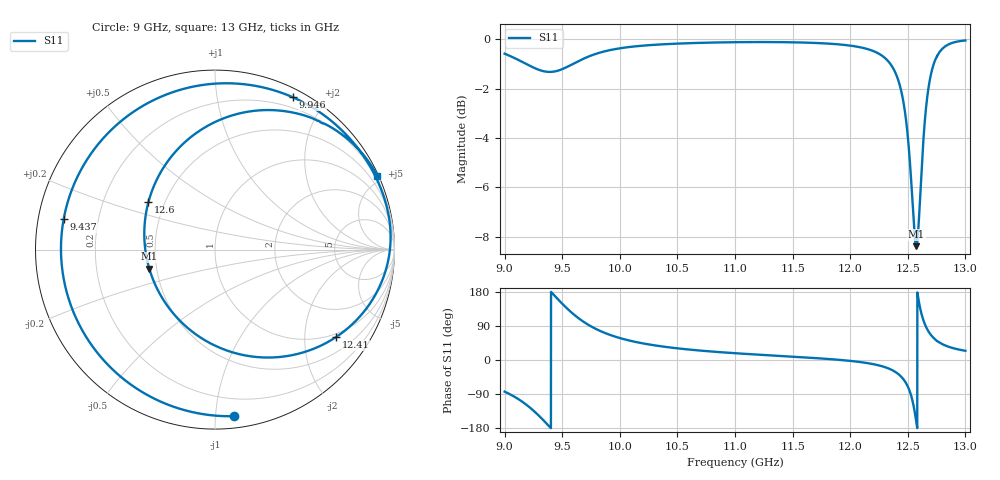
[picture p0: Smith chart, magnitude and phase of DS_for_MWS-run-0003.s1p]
! TOUCHSTONE file generated by CST DESIGN STUDIO
! Date and time: Tue Feb  4 16:12:17 2025
! Project name: C:\Work\MatlabApps\UnitCellOptimizationMatlab\CST\unitcell.cst
! Tree item: Tasks\Sweep1\SPara1\S-Parameters
! Header version: 2024
! Port assignment regex: !\s*Touchstone port\s*([0-9]+)\s*=\s*(CST MWS port|CST DES external port|CST DES block port)\s*(.+)\s* \(\"(.*)\"\)(\s*mode\s*([0-9]+))?.*
! Touchstone port assignment:
! Touchstone port 1 = CST DES external port 1 ("")
# GHz S MA R 50
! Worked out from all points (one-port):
!   4001 points, 9 GHz to 13 GHz, reference 50 ohm
!   lowest |S11| = -8.4 dB at 12.57 GHz (marker M1), VSWR 2.23, Z = 22.8 - j5.66 ohm
!   |S11| at or under -10 dB: nowhere
!   S11 on the Smith chart (normalised r, x): 9 GHz: 0.08, -1.12; 9.437 GHz: 0.08, +0.10; 9.946 GHz: 0.09, +1.63; 12.41 GHz: 0.90, -2.85; 12.6 GHz: 0.41, +0.27; 13 GHz: 0.07, +4.64
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9  0.9342 -83.5
9.123  0.9065 -103.9
9.223  0.882 -126.4
9.341  0.8606 -160.3
9.437  0.8601 168.6
9.5  0.8693 148.6
9.589  0.8895 123.2
9.681  0.9117 101.7
9.811  0.9364 79.2
9.946  0.9531 63.0
10  0.9578 57.9
10.214  0.9703 43.1
10.5  0.979 30.8
11  0.9855 17.9
11.5  0.985 8.8
12  0.9699 -2.3
12.273  0.9266 -16.2
12.412  0.8326 -35.8
12.458  0.7551 -49.3
12.5  0.6354 -70.0
12.538  0.4795 -104.0
12.574  0.3812 -163.8
12.602  0.4553 144.6
12.643  0.6616 98.5
12.689  0.8214 71.1
12.74  0.9096 53.8
12.802  0.9568 41.6
13  0.9935 24.3
